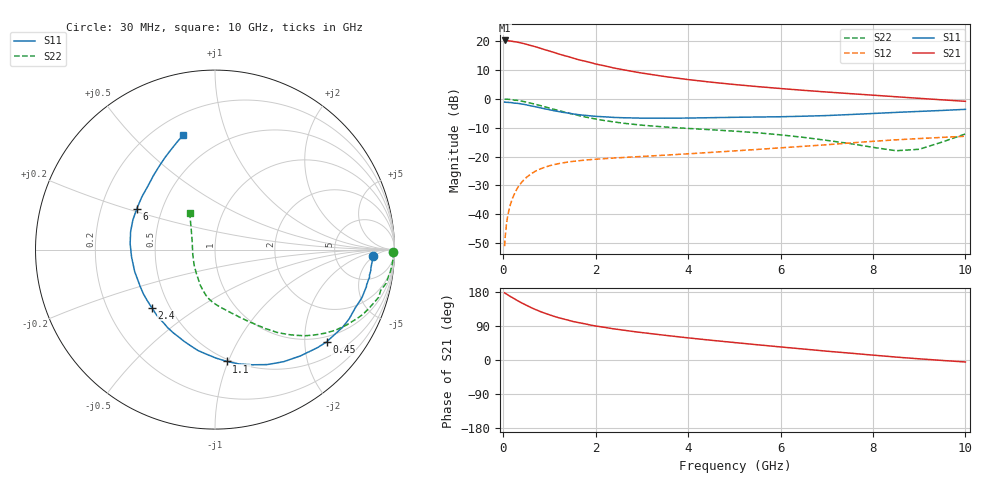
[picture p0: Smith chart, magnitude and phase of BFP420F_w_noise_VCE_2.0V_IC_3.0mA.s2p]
! Infineon Technologies  Discrete & RF Semiconductors
! BFP420F
! VCE =  2.0 V,  IC =  3.0 mA
! Common Emitter S-Parameters:  Sep 2011
# GHz  S  MA  R  50
!  f  S11  S21  S12  S22
! GHz  MAG  ANG  MAG  ANG  MAG  ANG  MAG  ANG
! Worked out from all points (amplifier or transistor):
!   54 points, 30 MHz to 10 GHz, reference 50 ohm
!   highest |S21| = 20.3 dB at 40 MHz (marker M1)
!   |S21| within 3 dB of that: start of sweep to 860.5 MHz
!   unconditionally stable (mu >= 1): 2.39 GHz to end of sweep
!   at 120 MHz: K = 0.05, MSG = 29.5 dB, |S12| = -38.9 dB
!   at 1.3 GHz: K = 0.53, MSG = 18.6 dB, |S12| = -22.1 dB
!   at 10 GHz: K = 1.52, MAG = 1.8 dB, |S12| = -12.9 dB
!   lowest NFmin = 0.85 dB at 450 MHz
!   S11 on the Smith chart (normalised r, x): 30 MHz: 15, -5; 450 MHz: 0.86, -2.52; 1.1 GHz: 0.48, -0.99; 2.4 GHz: 0.40, -0.33; 6 GHz: 0.36, +0.22; 10 GHz: 0.31, +0.71
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0.03  0.8827 -2.3  10.34 177.2  0.0028 87.1  0.9903 -0.7
0.04  0.8808 -3.2  10.35 176.4  0.0038 87.7  0.9933 -1.2
0.13  0.8696 -12.1  10.15 169.4  0.0125 83.8  0.9843 -7.3
0.25  0.846 -22.7  9.836 160.8  0.0233 77.3  0.9504 -13.9
0.35  0.8321 -31.4  9.515 154.0  0.032 72.7  0.9325 -18.7
0.45  0.8066 -39.6  9.114 147.6  0.0399 68.2  0.9011 -23.4
0.6  0.7599 -51.2  8.439 138.5  0.05 61.9  0.8442 -29.9
0.7  0.732 -58.6  8.046 133.1  0.0561 58.4  0.8075 -33.8
0.9  0.6747 -72.0  7.157 123.5  0.0655 52.3  0.7309 -40.6
1.1  0.6264 -84.0  6.413 115.2  0.0728 47.3  0.661 -46.3
1.2  0.6044 -89.5  6.03 111.5  0.0757 45.4  0.63 -48.8
1.5  0.5522 -104.4  5.156 101.9  0.0826 40.6  0.5474 -55.2
1.7  0.5262 -113.0  4.656 97.0  0.0859 38.3  0.5017 -59.0
1.9  0.5088 -121.2  4.262 91.8  0.0889 36.7  0.4649 -62.4
2.4  0.4783 -137.5  3.441 82.0  0.0947 33.8  0.3993 -70.2
3.5  0.464 -164.8  2.448 65.2  0.1061 32.2  0.3267 -83.5
4.5  0.4739 176.0  1.955 52.1  0.1185 32.0  0.2926 -92.8
5.5  0.4865 160.1  1.639 40.2  0.1334 31.7  0.2593 -101.3
6  0.4918 152.3  1.518 34.5  0.142 31.4  0.2387 -106.0
7  0.5155 136.3  1.32 23.3  0.1609 29.8  0.1915 -118.7
8.5  0.5853 118.2  1.093 7.7  0.1956 24.6  0.1266 -168.3
10  0.6611 105.7  0.911 -5.2  0.2257 17.6  0.2475 124.7
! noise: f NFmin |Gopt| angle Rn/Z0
0.45  0.85  0.4  15  0.19
0.9  0.9  0.38  35  0.21
1.9  1.14  0.29  89  0.16
2.4  1.25  0.29  101  0.16
3.5  1.61  0.32  139  0.17
